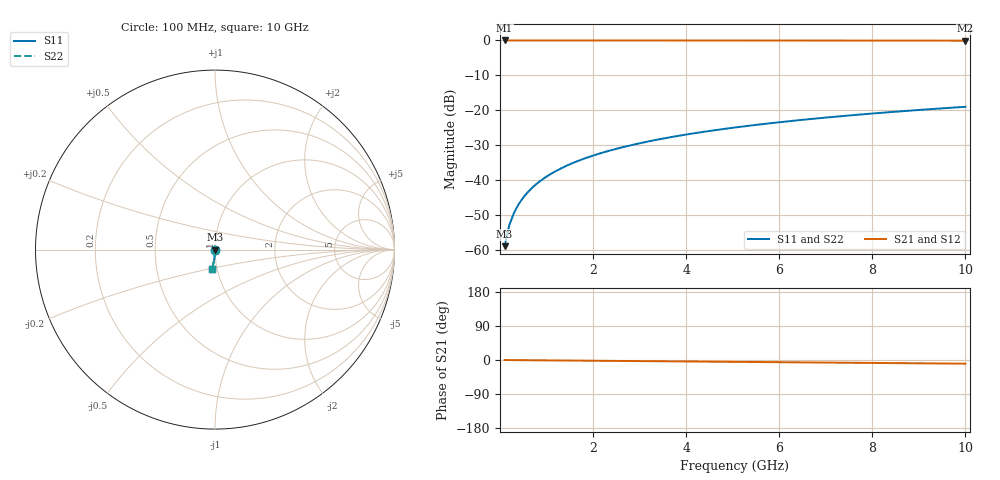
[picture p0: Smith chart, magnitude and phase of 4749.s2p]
# Hz S RI R 50.00
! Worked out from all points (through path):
!   100 points, 100 MHz to 10 GHz, reference 50 ohm
!   highest |S21| = 0.00 dB at 100 MHz (marker M1); lowest = -0.1 dB at 10 GHz (marker M2)
!   group delay of S21, straight-line fit = 2.69 ps
!   lowest |S11| = -59.0 dB at 100 MHz (marker M3), VSWR 1.00, Z = 50 - j0.111 ohm
!   |S11| at or under -10 dB: start of sweep to end of sweep
!   |S22| runs from -59.0 to -19.0 dB; largest |S21 - S12| = 0
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1e8  0.000108 -0.00111  0.9999 -0.00168  0.9999 -0.00168  0.000108 -0.00111
2e8  0.000101 -0.00223  0.9999 -0.00336  0.9999 -0.00336  0.000101 -0.00223
3e8  9.12e-05 -0.00334  0.9999 -0.00504  0.9999 -0.00504  9.12e-05 -0.00334
4e8  7.72e-05 -0.00446  0.9998 -0.00672  0.9998 -0.00672  7.72e-05 -0.00446
5e8  5.94e-05 -0.00557  0.9998 -0.0084  0.9998 -0.0084  5.94e-05 -0.00557
6e8  3.78e-05 -0.00668  0.9998 -0.0101  0.9998 -0.0101  3.78e-05 -0.00668
7e8  1.24e-05 -0.0078  0.9998 -0.0118  0.9998 -0.0118  1.24e-05 -0.0078
8e8  -1.67e-05 -0.00891  0.9997 -0.0134  0.9997 -0.0134  -1.67e-05 -0.00891
9e8  -4.96e-05 -0.01  0.9997 -0.0151  0.9997 -0.0151  -4.96e-05 -0.01
1.1e9  -0.000127 -0.0123  0.9996 -0.0185  0.9996 -0.0185  -0.000127 -0.0123
1.4e9  -0.000271 -0.0156  0.9995 -0.0235  0.9995 -0.0235  -0.000271 -0.0156
1.8e9  -0.000515 -0.0201  0.9992 -0.0302  0.9992 -0.0302  -0.000515 -0.0201
2.1e9  -0.000738 -0.0234  0.999 -0.0353  0.999 -0.0353  -0.000738 -0.0234
2.5e9  -0.00109 -0.0279  0.9986 -0.042  0.9986 -0.042  -0.00109 -0.0279
2.9e9  -0.0015 -0.0323  0.9981 -0.0487  0.9981 -0.0487  -0.0015 -0.0323
3.4e9  -0.0021 -0.0379  0.9975 -0.0571  0.9975 -0.0571  -0.0021 -0.0379
4.2e9  -0.00325 -0.0468  0.9962 -0.0706  0.9962 -0.0706  -0.00325 -0.0468
5.1e9  -0.00484 -0.0568  0.9945 -0.0857  0.9945 -0.0857  -0.00484 -0.0568
5.9e9  -0.00651 -0.0656  0.9927 -0.0991  0.9927 -0.0991  -0.00651 -0.0656
6.7e9  -0.00842 -0.0744  0.9906 -0.1125  0.9906 -0.1125  -0.00842 -0.0744
8.4e9  -0.0133 -0.093  0.9853 -0.1408  0.9853 -0.1408  -0.0133 -0.093
1e10  -0.0188 -0.1101  0.9793 -0.1672  0.9793 -0.1672  -0.0188 -0.1101
